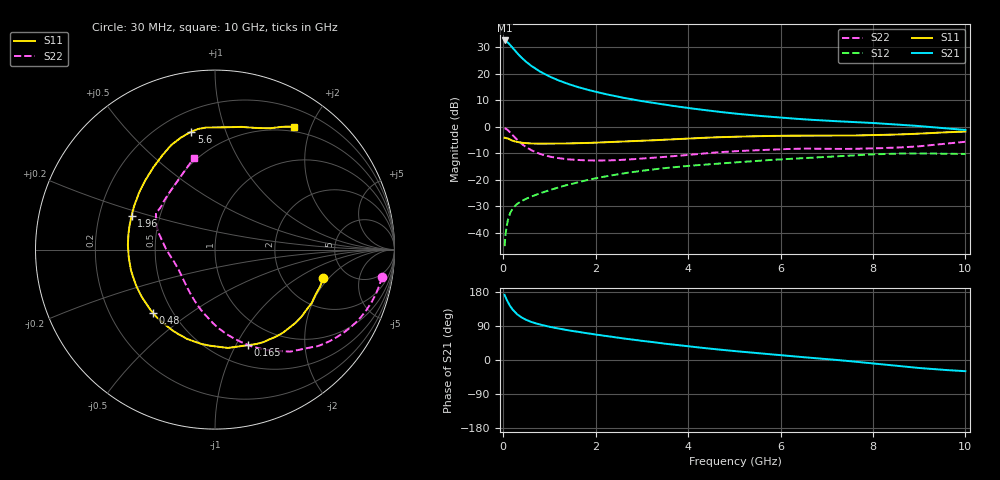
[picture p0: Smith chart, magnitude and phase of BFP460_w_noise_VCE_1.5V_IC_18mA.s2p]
! (c) 2016  Infineon Technologies AG, Munich
! Infineon Technologies  Discrete & RF Semiconductors
! BFP460
! VCE =  1.5 V,  IC =  18 mA
! Common Emitter S-Parameters:  Jan 2016
# GHz  S  MA  R  50
!  f  S11  S21  S12  S22
! GHz  MAG  ANG  MAG  ANG  MAG  ANG  MAG  ANG
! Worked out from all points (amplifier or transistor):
!   229 points, 30 MHz to 10 GHz, reference 50 ohm
!   highest |S21| = 32.6 dB at 30 MHz (marker M1)
!   |S21| within 3 dB of that: start of sweep to 214.4 MHz
!   unconditionally stable (mu >= 1): 1.837 GHz to 8.948 GHz
!   at 280 MHz: K = 0.40, MSG = 28.9 dB, |S12| = -29.4 dB
!   at 1.78 GHz: K = 1.00, MSG = 17.2 dB, |S12| = -20.2 dB
!   at 10 GHz: K = 0.99, MSG = 4.5 dB, |S12| = -10.2 dB
!   lowest NFmin = 1.13 dB at 900 MHz
!   S11 on the Smith chart (normalised r, x): 30 MHz: 3.36, -1.75; 165 MHz: 0.72, -1.12; 480 MHz: 0.39, -0.36; 1.96 GHz: 0.34, +0.17; 5.6 GHz: 0.32, +0.77; 10 GHz: 0.43, +1.76
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0.03  0.6248 -14.7  42.73 171.9  0.0056 84.4  0.9425 -9.3
0.05  0.6141 -23.9  41.83 165.6  0.0092 81.4  0.9293 -15.6
0.09  0.6061 -42.6  39.74 155.5  0.0157 73.0  0.8823 -27.6
0.12  0.592 -55.0  37.51 148.5  0.0199 68.0  0.8363 -35.6
0.14  0.5815 -62.5  36 144.3  0.0223 65.3  0.8036 -40.7
0.165  0.5633 -70.9  33.89 139.9  0.0249 62.4  0.7602 -45.9
0.2  0.5526 -82.5  31.3 133.6  0.0283 59.1  0.7061 -53.6
0.24  0.5361 -93.3  28.47 128.1  0.0312 56.2  0.6469 -60.6
0.3  0.5218 -107.1  24.82 120.8  0.035 53.2  0.5717 -69.9
0.4  0.5014 -124.3  20.12 112.1  0.0398 50.9  0.4774 -81.9
0.48  0.4931 -134.7  17.37 107.0  0.0432 50.4  0.4236 -89.5
0.66  0.4834 -151.4  13.19 98.5  0.0502 50.6  0.3454 -102.9
0.9  0.482 -166.4  9.874 90.4  0.0597 51.9  0.2896 -116.5
1.2  0.4836 -179.4  7.514 82.9  0.0722 52.9  0.2563 -128.8
1.7  0.4942 164.8  5.371 72.7  0.0938 52.6  0.235 -143.5
1.96  0.5016 157.9  4.682 68.0  0.1052 51.6  0.2317 -149.7
3.4  0.5667 128.5  2.699 44.7  0.163 41.6  0.2672 -178.7
5.1  0.6551 105.9  1.752 22.5  0.2159 29.3  0.3503 157.7
5.6  0.6696 101.3  1.597 17.1  0.2316 25.8  0.365 153.5
6.8  0.6805 91.2  1.338 4.5  0.2654 17.3  0.3863 146.5
8.4  0.7119 72.4  1.124 -14.0  0.3111 3.1  0.4026 130.8
10  0.8153 57.1  0.873 -29.5  0.3081 -9.3  0.5234 103.0
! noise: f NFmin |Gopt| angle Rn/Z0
0.45  1.21  0.04  164  0.13
0.9  1.13  0.18  150  0.14
1.9  1.33  0.16  -152  0.12
3.5  1.29  0.41  -126  0.14
